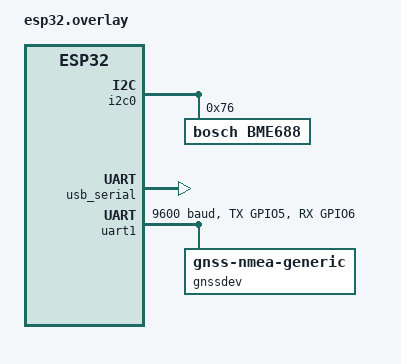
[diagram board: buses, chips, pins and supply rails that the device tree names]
/*
 * Copyright (c) 2022 Espressif Systems (Shanghai) Co., Ltd.
 *
 * SPDX-License-Identifier: Apache-2.0
 */
/*
*	ESP32 https://zephyrproject.org/how-to-set-up-esp32-gpio-pins-in-zephyr-rtos/
*	GPIO0..GPIO31 → port &gpio0, pins 0..31
*	GPIO32..GPIO39 → port &gpio1, pins 0..7
*/
/ {
	aliases {
		/* On ESP32-C3, only GPIO0~5 can be used
		 * as wake-up sources
		 */
    
		gnss = &gnssdev;
    };

	gpio_keys {
		compatible = "gpio-keys";
		status = "okay";
	};

    chosen {
        zephyr,console = &usb_serial;
        zephyr,shell-uart = &usb_serial;
    };
};

&i2c0 {
	status = "okay";
	bme688: bme688@76 {
		compatible = "bosch,bme688";
		reg = <0x76>;
		label = "BME688";
		status = "okay";
	};

};

&pinctrl {
	i2c0_default: i2c0_default {
		group1 {
			pinmux = <I2C0_SDA_GPIO8>,
				 <I2C0_SCL_GPIO9>;
		};
	};
};

&usb_serial {
    status = "okay";
};

&uart1 {
	status = "okay";
	current-speed = <9600>;
	pinctrl-0 = <&uart1_pins>;
	pinctrl-names = "default";
	gnssdev: gnss-nmea-generic {
			compatible = "gnss-nmea-generic";
	};
};

&pinctrl {
	uart1_pins: uart1_pins {
		group1 {
			pinmux = <UART1_TX_GPIO5>;
			output-high;
		};
		group2 {
			pinmux = <UART1_RX_GPIO6>;
			bias-pull-up;
		};
	};
};

